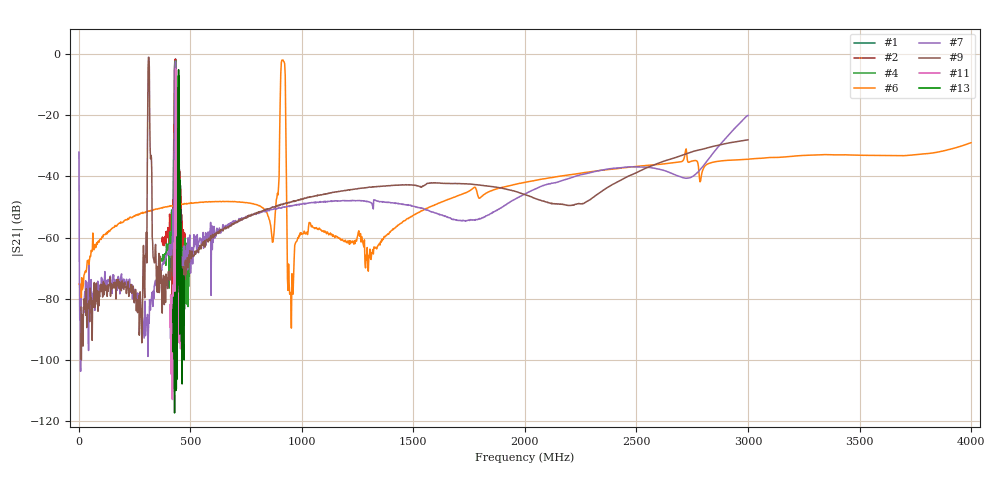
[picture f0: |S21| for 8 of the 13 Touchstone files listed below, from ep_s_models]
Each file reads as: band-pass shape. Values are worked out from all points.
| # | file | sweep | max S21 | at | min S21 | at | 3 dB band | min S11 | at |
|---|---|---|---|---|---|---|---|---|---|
| 1 | B3710_NB.s2p | 408.9 MHz to 458.9 MHz | -1.71 dB | 434.2 MHz | -82.6 dB | 419.7 MHz | 429.6 MHz-437 MHz | -65.1 dB | 432.6 MHz |
| 2 | B3710_WB.s2p | 375 MHz to 475 MHz | -1.70 dB | 434.2 MHz | -91.6 dB | 460.6 MHz | 429.6 MHz-436.9 MHz | -65.6 dB | 432.6 MHz |
| 3 | B3719_WB_UN.s2p | 10 MHz to 1 GHz | -1.18 dB | 315.7 MHz | -98.0 dB | 14.95 MHz | 312.6 MHz-317.5 MHz | -29.2 dB | 313.8 MHz |
| 4 | B3721_WB_UN.s2p | 373.9 MHz to 493.9 MHz | -2.33 dB | 434.1 MHz | -92.8 dB | 470.2 MHz | 431.1 MHz-436.9 MHz | -24.9 dB | 431.9 MHz |
| 5 | B3725_WB.s2p | 10 MHz to 3 GHz | -2.18 dB | 865.9 MHz | -84.8 dB | 11.87 MHz | 862.1 MHz-873.4 MHz | -35.6 dB | 867.8 MHz |
| 6 | B3726_WB.s2p | 1 MHz to 4 GHz | -1.99 dB | 915.8 MHz | -89.5 dB | 953.3 MHz | 908.3 MHz-923.3 MHz | -22.8 dB | 918.3 MHz |
| 7 | B3727_WB.s2p | 1 MHz to 3 GHz | -2.48 dB | 434 MHz | -103.6 dB | 8.498 MHz | 432.1 MHz-435.9 MHz | -16.5 dB | 432.1 MHz |
| 8 | B3728_WB.s2p | 10 MHz to 4 GHz | -0.89 dB | 912.7 MHz | -68.7 dB | 940.2 MHz | 900.3 MHz-930.2 MHz | -25.2 dB | 910.2 MHz |
| 9 | B3729_WB.s2p | 10 MHz to 3 GHz | -1.09 dB | 312.7 MHz | -99.9 dB | 11.87 MHz | 312.7 MHz-314.6 MHz | -34.8 dB | 312.7 MHz |
| 10 | B3732_WB.s2p | 383.9 MHz to 483.9 MHz | -4.09 dB | 433.9 MHz | -101.3 dB | 474.7 MHz | 433.9 MHz-434 MHz | -8.7 dB | 433.9 MHz |
| 11 | B3733_WB.s2p | 409.4 MHz to 459.4 MHz | -4.90 dB | 434.5 MHz | -112.9 dB | 420 MHz | 434.5 MHz-434.5 MHz | -6.9 dB | 434.5 MHz |
| 12 | B3735_WB.s2p | 408.4 MHz to 458.4 MHz | -5.49 dB | 433.5 MHz | -109.6 dB | 456.2 MHz | 433.4 MHz-433.5 MHz | -6.9 dB | 433.5 MHz |
| 13 | B3737_WB.s2p | 422.8 MHz to 472.8 MHz | -5.17 dB | 447.7 MHz | -117.2 dB | 429.7 MHz | 447.6 MHz-447.8 MHz | -7.6 dB | 447.7 MHz |
